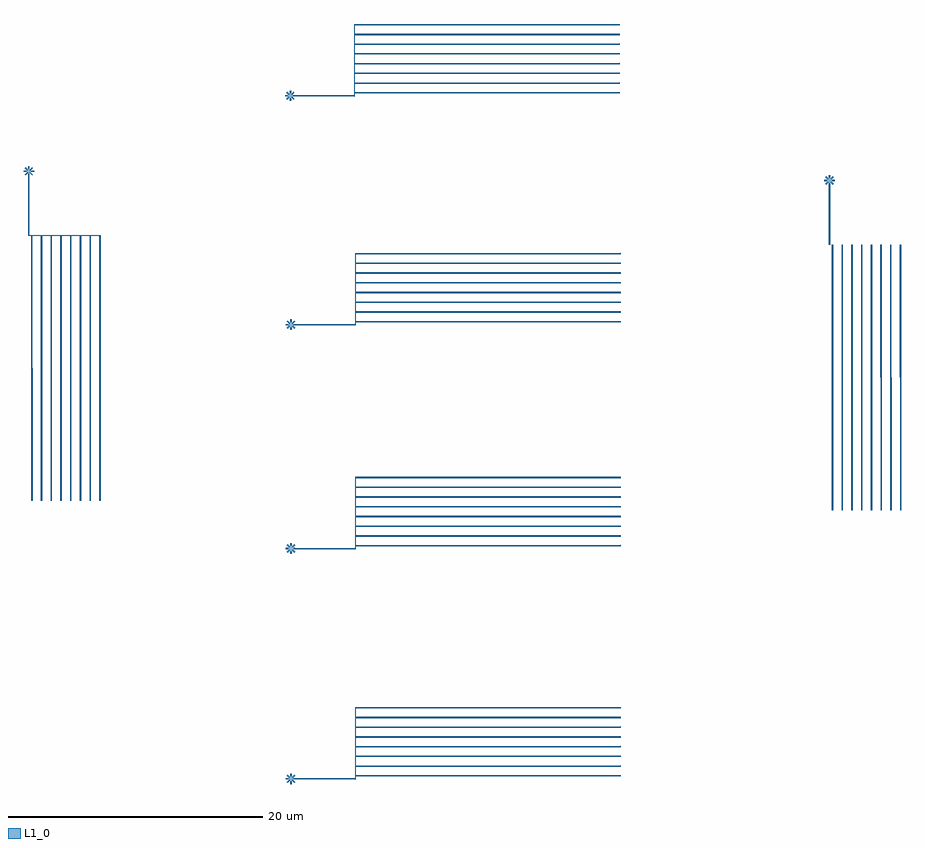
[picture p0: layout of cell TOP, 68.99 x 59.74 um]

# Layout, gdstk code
import gdstk
lib = gdstk.Library(unit=1e-6, precision=1e-09)
def R(c, l, rs):  # rectangles x0, y0, x1, y1
    for r in rs: c.add(gdstk.rectangle(r[:2], r[2:], *l))
def P(c, l, *ps):  # polygons
    for p in ps: c.add(gdstk.Polygon(p, *l))
L1_0 = (1, 0)

top = lib.new_cell('TOP')
R(top, L1_0, [(1035342.36,-228745.915,1035342.462,-228745.099), (1035342.003,-228745.558,1035342.689,-228745.456), (1035347.45,-228745.522,1035347.481,-228739.874), (1035342.36,-228727.821,1035342.462,-228727.005), (1035342.003,-228727.464,1035342.689,-228727.362), (1035347.45,-228727.429,1035347.481,-228721.78), (1035342.36,-228710.218,1035342.462,-228709.402), (1035342.003,-228709.861,1035342.689,-228709.759), (1035347.45,-228709.825,1035347.481,-228704.176), (1035384.726,-228703.544,1035390.375,-228703.514), (1035321.787,-228702.825,1035327.436,-228702.795), (1035384.69,-228698.752,1035384.792,-228698.065), (1035384.333,-228698.524,1035385.149,-228698.422), (1035321.75,-228698.033,1035321.852,-228697.347), (1035321.393,-228697.806,1035322.209,-228697.704), (1035342.306,-228692.225,1035342.408,-228691.409), (1035341.949,-228691.868,1035342.635,-228691.766), (1035347.396,-228691.833,1035347.427,-228686.184)])
P(top, L1_0, [(1035347.396,-228686.286),(1035347.396,-228686.184),(1035368.268,-228686.175),(1035368.268,-228686.277)],
  [(1035347.396,-228687.051),(1035347.396,-228686.949),(1035368.268,-228686.94),(1035368.268,-228687.042)],
  [(1035347.396,-228688.581),(1035347.396,-228688.479),(1035368.268,-228688.47),(1035368.268,-228688.572)],
  [(1035347.396,-228690.111),(1035347.396,-228690.009),(1035368.268,-228690),(1035368.268,-228690.102)],
  [(1035347.396,-228691.641),(1035347.396,-228691.539),(1035368.268,-228691.53),(1035368.268,-228691.632)],
  [(1035347.396,-228687.816),(1035347.396,-228687.714),(1035368.268,-228687.705),(1035368.268,-228687.807)],
  [(1035347.396,-228689.346),(1035347.396,-228689.244),(1035368.268,-228689.235),(1035368.268,-228689.337)],
  [(1035347.396,-228690.876),(1035347.396,-228690.774),(1035368.268,-228690.765),(1035368.268,-228690.867)],
  [(1035347.427,-228691.875),(1035342.635,-228691.868),(1035342.635,-228691.766),(1035347.427,-228691.773)],
  [(1035342.104,-228692.143),(1035342.032,-228692.07),(1035342.608,-228691.493),(1035342.681,-228691.565)],
  [(1035342.608,-228692.143),(1035342.032,-228691.565),(1035342.104,-228691.493),(1035342.681,-228692.07)],
  [(1035347.45,-228704.278),(1035347.45,-228704.176),(1035368.322,-228704.167),(1035368.322,-228704.269)],
  [(1035347.45,-228705.043),(1035347.45,-228704.941),(1035368.322,-228704.932),(1035368.322,-228705.034)],
  [(1035347.45,-228706.573),(1035347.45,-228706.471),(1035368.322,-228706.462),(1035368.322,-228706.564)],
  [(1035347.45,-228708.103),(1035347.45,-228708.001),(1035368.322,-228707.992),(1035368.322,-228708.094)],
  [(1035347.45,-228709.633),(1035347.45,-228709.531),(1035368.322,-228709.522),(1035368.322,-228709.624)],
  [(1035347.45,-228705.808),(1035347.45,-228705.706),(1035368.322,-228705.697),(1035368.322,-228705.799)],
  [(1035347.45,-228707.338),(1035347.45,-228707.236),(1035368.322,-228707.227),(1035368.322,-228707.329)],
  [(1035347.45,-228708.868),(1035347.45,-228708.766),(1035368.322,-228708.757),(1035368.322,-228708.859)],
  [(1035347.481,-228709.868),(1035342.689,-228709.861),(1035342.689,-228709.759),(1035347.481,-228709.766)],
  [(1035342.158,-228710.134),(1035342.086,-228710.062),(1035342.663,-228709.486),(1035342.735,-228709.557)],
  [(1035342.663,-228710.134),(1035342.086,-228709.557),(1035342.158,-228709.486),(1035342.735,-228710.062)],
  [(1035347.45,-228721.882),(1035347.45,-228721.78),(1035368.322,-228721.771),(1035368.322,-228721.873)],
  [(1035347.45,-228722.647),(1035347.45,-228722.545),(1035368.322,-228722.536),(1035368.322,-228722.638)],
  [(1035347.45,-228724.177),(1035347.45,-228724.075),(1035368.322,-228724.066),(1035368.322,-228724.168)],
  [(1035347.45,-228725.707),(1035347.45,-228725.605),(1035368.322,-228725.596),(1035368.322,-228725.698)],
  [(1035347.45,-228727.237),(1035347.45,-228727.135),(1035368.322,-228727.126),(1035368.322,-228727.228)],
  [(1035347.45,-228723.412),(1035347.45,-228723.31),(1035368.322,-228723.301),(1035368.322,-228723.403)],
  [(1035347.45,-228724.942),(1035347.45,-228724.84),(1035368.322,-228724.831),(1035368.322,-228724.933)],
  [(1035347.45,-228726.472),(1035347.45,-228726.37),(1035368.322,-228726.361),(1035368.322,-228726.463)],
  [(1035347.481,-228727.471),(1035342.689,-228727.464),(1035342.689,-228727.362),(1035347.481,-228727.369)],
  [(1035342.158,-228727.738),(1035342.086,-228727.666),(1035342.663,-228727.089),(1035342.735,-228727.161)],
  [(1035342.663,-228727.738),(1035342.086,-228727.161),(1035342.158,-228727.089),(1035342.735,-228727.666)],
  [(1035347.45,-228739.976),(1035347.45,-228739.874),(1035368.322,-228739.864),(1035368.322,-228739.966)],
  [(1035347.45,-228740.741),(1035347.45,-228740.639),(1035368.322,-228740.629),(1035368.322,-228740.731)],
  [(1035347.45,-228742.271),(1035347.45,-228742.169),(1035368.322,-228742.159),(1035368.322,-228742.261)],
  [(1035347.45,-228743.801),(1035347.45,-228743.699),(1035368.322,-228743.689),(1035368.322,-228743.791)],
  [(1035347.45,-228745.331),(1035347.45,-228745.229),(1035368.322,-228745.219),(1035368.322,-228745.321)],
  [(1035347.45,-228741.506),(1035347.45,-228741.404),(1035368.322,-228741.394),(1035368.322,-228741.496)],
  [(1035347.45,-228743.036),(1035347.45,-228742.934),(1035368.322,-228742.924),(1035368.322,-228743.026)],
  [(1035347.45,-228744.566),(1035347.45,-228744.464),(1035368.322,-228744.454),(1035368.322,-228744.556)],
  [(1035347.481,-228745.565),(1035342.689,-228745.558),(1035342.689,-228745.456),(1035347.481,-228745.463)],
  [(1035342.158,-228745.831),(1035342.086,-228745.76),(1035342.663,-228745.183),(1035342.735,-228745.255)],
  [(1035342.663,-228745.831),(1035342.086,-228745.255),(1035342.158,-228745.183),(1035342.735,-228745.76)],
  [(1035327.342,-228723.666),(1035327.334,-228702.795),(1035327.436,-228702.795),(1035327.444,-228723.666)],
  [(1035326.577,-228723.666),(1035326.569,-228702.795),(1035326.671,-228702.795),(1035326.679,-228723.666)],
  [(1035325.047,-228723.666),(1035325.039,-228702.795),(1035325.141,-228702.795),(1035325.149,-228723.666)],
  [(1035323.517,-228723.666),(1035323.509,-228702.795),(1035323.611,-228702.795),(1035323.619,-228723.666)],
  [(1035321.987,-228723.666),(1035321.979,-228702.795),(1035322.081,-228702.795),(1035322.089,-228723.666)],
  [(1035325.812,-228723.666),(1035325.804,-228702.795),(1035325.906,-228702.795),(1035325.914,-228723.666)],
  [(1035324.282,-228723.666),(1035324.274,-228702.795),(1035324.376,-228702.795),(1035324.384,-228723.666)],
  [(1035322.752,-228723.666),(1035322.744,-228702.795),(1035322.846,-228702.795),(1035322.854,-228723.666)],
  [(1035321.744,-228702.825),(1035321.75,-228698.033),(1035321.852,-228698.033),(1035321.846,-228702.825)],
  [(1035322.054,-228698.079),(1035321.477,-228697.503),(1035321.55,-228697.43),(1035322.127,-228698.008)],
  [(1035321.55,-228698.079),(1035321.477,-228698.008),(1035322.054,-228697.43),(1035322.127,-228697.503)],
  [(1035390.282,-228724.384),(1035390.273,-228703.514),(1035390.375,-228703.514),(1035390.384,-228724.384)],
  [(1035389.517,-228724.384),(1035389.508,-228703.514),(1035389.61,-228703.514),(1035389.619,-228724.384)],
  [(1035387.987,-228724.384),(1035387.978,-228703.514),(1035388.08,-228703.514),(1035388.089,-228724.384)],
  [(1035386.457,-228724.384),(1035386.448,-228703.514),(1035386.55,-228703.514),(1035386.559,-228724.384)],
  [(1035384.927,-228724.384),(1035384.918,-228703.514),(1035385.02,-228703.514),(1035385.029,-228724.384)],
  [(1035388.752,-228724.384),(1035388.743,-228703.514),(1035388.845,-228703.514),(1035388.854,-228724.384)],
  [(1035387.222,-228724.384),(1035387.213,-228703.514),(1035387.315,-228703.514),(1035387.324,-228724.384)],
  [(1035385.692,-228724.384),(1035385.683,-228703.514),(1035385.785,-228703.514),(1035385.794,-228724.384)],
  [(1035384.683,-228703.544),(1035384.69,-228698.752),(1035384.792,-228698.752),(1035384.785,-228703.544)],
  [(1035384.994,-228698.798),(1035384.416,-228698.221),(1035384.489,-228698.148),(1035385.066,-228698.726)],
  [(1035384.489,-228698.798),(1035384.416,-228698.726),(1035384.994,-228698.148),(1035385.066,-228698.221)])

lib.write_gds('TOP.gds')
